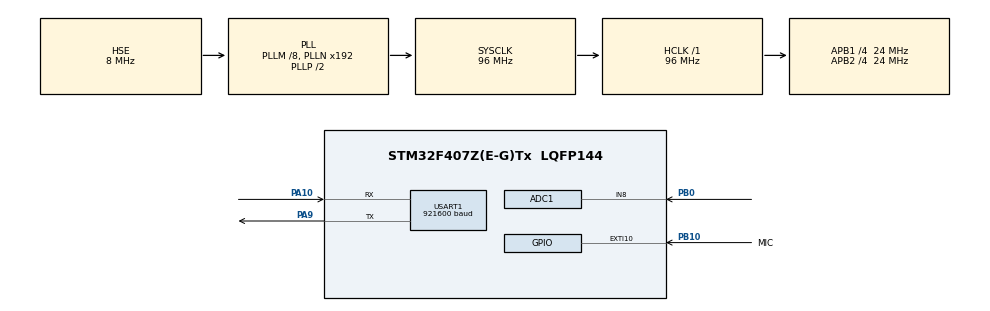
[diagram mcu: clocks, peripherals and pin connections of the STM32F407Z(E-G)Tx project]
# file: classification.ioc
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ADC1.Channel-0\#ChannelRegularConversion=ADC_CHANNEL_8
ADC1.ExternalTrigConv=ADC_EXTERNALTRIGCONV_T2_TRGO
ADC1.NbrOfConversionFlag=1
ADC1.Rank-0\#ChannelRegularConversion=1
ADC1.SamplingTime-0\#ChannelRegularConversion=ADC_SAMPLETIME_480CYCLES
ADC1.master=1
Dma.ADC1.0.Direction=DMA_PERIPH_TO_MEMORY
Dma.ADC1.0.FIFOMode=DMA_FIFOMODE_DISABLE
Dma.ADC1.0.Instance=DMA2_Stream0
Dma.ADC1.0.MemDataAlignment=DMA_MDATAALIGN_HALFWORD
Dma.ADC1.0.MemInc=DMA_MINC_ENABLE
Dma.ADC1.0.Mode=DMA_NORMAL
Dma.ADC1.0.PeriphDataAlignment=DMA_PDATAALIGN_HALFWORD
Dma.ADC1.0.PeriphInc=DMA_PINC_DISABLE
Dma.ADC1.0.Priority=DMA_PRIORITY_LOW
Dma.Request0=ADC1
Mcu.Family=STM32F4
Mcu.Name=STM32F407Z(E-G)Tx
Mcu.Package=LQFP144
NVIC.DMA2_Stream0_IRQn=true\:0\:0\:false\:false\:true\:false\:true\:true
NVIC.EXTI15_10_IRQn=true\:0\:0\:false\:false\:true\:true\:true\:true
NVIC.PriorityGroup=NVIC_PRIORITYGROUP_4
PA10.Mode=Asynchronous
PA10.Signal=USART1_RX
PA9.Mode=Asynchronous
PA9.Signal=USART1_TX
PB0.Signal=ADCx_IN8
PB10.GPIO_Label=MIC
PB10.GPIO_ModeDefaultEXTI=GPIO_MODE_IT_FALLING
PB10.GPIO_PuPd=GPIO_PULLUP
PB10.Signal=GPXTI10
PH0-OSC_IN.Mode=HSE-External-Oscillator
PH0-OSC_IN.Signal=RCC_OSC_IN
PH1-OSC_OUT.Mode=HSE-External-Oscillator
PH1-OSC_OUT.Signal=RCC_OSC_OUT
ProjectManager.HeapSize=0x200
ProjectManager.StackSize=0x400
ProjectManager.TargetToolchain=MDK-ARM V5.32
RCC.48MHZClocksFreq_Value=48000000
RCC.AHBFreq_Value=96000000
RCC.APB1CLKDivider=RCC_HCLK_DIV4
RCC.APB1Freq_Value=24000000
RCC.APB1TimFreq_Value=48000000
RCC.APB2CLKDivider=RCC_HCLK_DIV4
RCC.APB2Freq_Value=24000000
RCC.APB2TimFreq_Value=48000000
RCC.CortexFreq_Value=96000000
RCC.HCLKFreq_Value=96000000
RCC.HSE_VALUE=8000000
RCC.HSI_VALUE=16000000
RCC.LSE_VALUE=32768
RCC.PLLM=8
RCC.PLLSourceVirtual=RCC_PLLSOURCE_HSE
RCC.SYSCLKFreq_VALUE=96000000
RCC.SYSCLKSource=RCC_SYSCLKSOURCE_PLLCLK
RCC.VCOOutputFreq_Value=192000000
SH.ADCx_IN8.0=ADC1_IN8,IN8
TIM2.AutoReloadPreload=TIM_AUTORELOAD_PRELOAD_ENABLE
TIM2.Period=1000 - 1 
TIM2.TIM_MasterOutputTrigger=TIM_TRGO_UPDATE
USART1.BaudRate=921600
USART1.VirtualMode=VM_ASYNC
VP_TIM2_VS_ClockSourceINT.Mode=Internal
board=custom

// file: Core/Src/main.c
/* USER CODE BEGIN Header */
/**
 ******************************************************************************
 * @file           : main.c
 * @brief          : Main program body
 ******************************************************************************
 * @attention
 *
 * Copyright (c) 2024 STMicroelectronics.
 * All rights reserved.
 *
 * This software is licensed under terms that can be found in the LICENSE file
 * in the root directory of this software component.
 * If no LICENSE file comes with this software, it is provided AS-IS.
 *
 ******************************************************************************
 */
/* USER CODE END Header */
#include "main.h"
#include "adc.h"
#include "dma.h"
#include "tim.h"
#include "usart.h"
#include "gpio.h"

/* USER CODE BEGIN Includes */
#include "u_fft.h"
#include "stdio.h"
#include "classification.h"
/* USER CODE END Includes */

void SystemClock_Config(void);

/* USER CODE BEGIN 0 */
float voltage[SIMPLE_LEN];
uint16_t raw_voltage_buffer[SIMPLE_LEN];
volatile char adc_flag;
volatile char mic_int;
int result;
void HAL_ADC_ConvCpltCallback(ADC_HandleTypeDef *hadc)
{
  adc_flag = 1;
}
void HAL_GPIO_EXTI_Callback(uint16_t GPIO_Pin)
{
	if(HAL_GPIO_ReadPin(MIC_GPIO_Port,MIC_Pin)== GPIO_PIN_RESET)
	{
		mic_int = 1;
		HAL_NVIC_DisableIRQ(EXTI15_10_IRQn);
	}
}
/* USER CODE END 0 */

int main(void)
{

  /* MCU Configuration--------------------------------------------------------*/

  /* Reset of all peripherals, Initializes the Flash interface and the Systick. */
  HAL_Init();

  /* Configure the system clock */
  SystemClock_Config();

  /* Initialize all configured peripherals */
  MX_GPIO_Init();
  MX_DMA_Init();
  MX_ADC1_Init();
  MX_TIM2_Init();
  MX_USART1_UART_Init();

  /* Infinite loop */
  /* USER CODE BEGIN WHILE */
  while (1)
  {
		if(mic_int)
		{
			mic_int = 0;
			HAL_TIM_Base_Start(&htim2);
			classification();
		}
    /* USER CODE END WHILE */

  }
}

void SystemClock_Config(void)
{
  RCC_OscInitTypeDef RCC_OscInitStruct = {0};
  RCC_ClkInitTypeDef RCC_ClkInitStruct = {0};

  /** Configure the main internal regulator output voltage
  */
  __HAL_RCC_PWR_CLK_ENABLE();
  __HAL_PWR_VOLTAGESCALING_CONFIG(PWR_REGULATOR_VOLTAGE_SCALE1);

  /** Initializes the RCC Oscillators according to the specified parameters
  * in the RCC_OscInitTypeDef structure.
  */
  RCC_OscInitStruct.OscillatorType = RCC_OSCILLATORTYPE_HSE;
  RCC_OscInitStruct.HSEState = RCC_HSE_ON;
  RCC_OscInitStruct.PLL.PLLState = RCC_PLL_ON;
  RCC_OscInitStruct.PLL.PLLSource = RCC_PLLSOURCE_HSE;
  RCC_OscInitStruct.PLL.PLLM = 8;
  RCC_OscInitStruct.PLL.PLLN = 192;
  RCC_OscInitStruct.PLL.PLLP = RCC_PLLP_DIV2;
  RCC_OscInitStruct.PLL.PLLQ = 4;
  if (HAL_RCC_OscConfig(&RCC_OscInitStruct) != HAL_OK)
  {
    Error_Handler();
  }

  /** Initializes the CPU, AHB and APB buses clocks
  */
  RCC_ClkInitStruct.ClockType = RCC_CLOCKTYPE_HCLK|RCC_CLOCKTYPE_SYSCLK
                              |RCC_CLOCKTYPE_PCLK1|RCC_CLOCKTYPE_PCLK2;
  RCC_ClkInitStruct.SYSCLKSource = RCC_SYSCLKSOURCE_PLLCLK;
  RCC_ClkInitStruct.AHBCLKDivider = RCC_SYSCLK_DIV1;
  RCC_ClkInitStruct.APB1CLKDivider = RCC_HCLK_DIV4;
  RCC_ClkInitStruct.APB2CLKDivider = RCC_HCLK_DIV4;

  if (HAL_RCC_ClockConfig(&RCC_ClkInitStruct, FLASH_LATENCY_3) != HAL_OK)
  {
    Error_Handler();
  }
}

void Error_Handler(void)
{
  __disable_irq();
  while (1)
  {
  }
}
